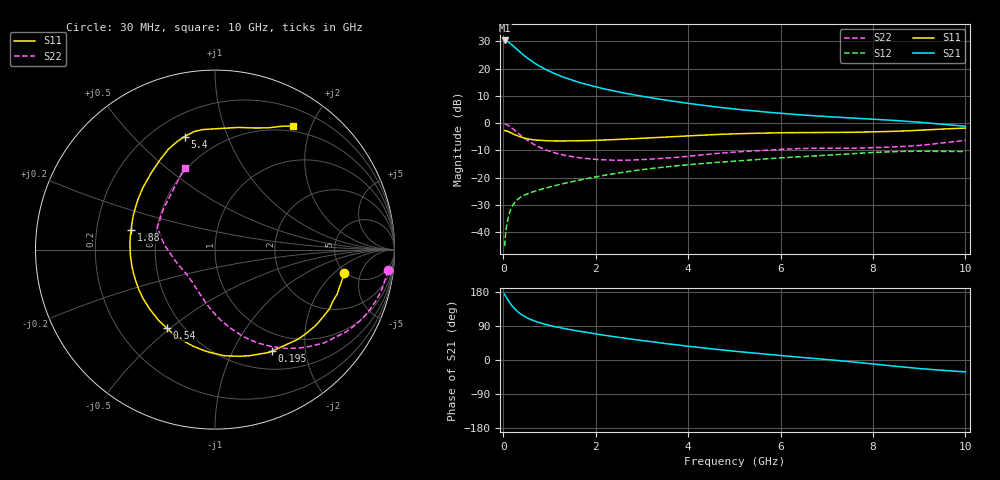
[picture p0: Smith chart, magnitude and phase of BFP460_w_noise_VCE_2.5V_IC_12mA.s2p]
! (c) 2016  Infineon Technologies AG, Munich
! Infineon Technologies  Discrete & RF Semiconductors
! BFP460
! VCE =  2.5 V,  IC =  12 mA
! Common Emitter S-Parameters:  Jan 2016
# GHz  S  MA  R  50
!  f  S11  S21  S12  S22
! GHz  MAG  ANG  MAG  ANG  MAG  ANG  MAG  ANG
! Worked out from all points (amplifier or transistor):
!   229 points, 30 MHz to 10 GHz, reference 50 ohm
!   highest |S21| = 30.3 dB at 30 MHz (marker M1)
!   |S21| within 3 dB of that: start of sweep to 281.9 MHz
!   unconditionally stable (mu >= 1): 2.267 GHz to 7.873 GHz
!   at 280 MHz: K = 0.30, MSG = 27.9 dB, |S12| = -28.5 dB
!   at 1.78 GHz: K = 0.95, MSG = 17.3 dB, |S12| = -20.4 dB
!   at 10 GHz: K = 0.97, MSG = 4.6 dB, |S12| = -10.4 dB
!   lowest NFmin = 1.03 dB at 450 MHz
!   S11 on the Smith chart (normalised r, x): 30 MHz: 4.85, -2.77; 195 MHz: 0.73, -1.43; 540 MHz: 0.41, -0.49; 1.88 GHz: 0.36, +0.10; 5.4 GHz: 0.33, +0.71; 10 GHz: 0.43, +1.73
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0.03  0.7327 -10.4  32.68 173.6  0.0056 85.7  0.9692 -6.8
0.07  0.7163 -23.9  31.94 164.4  0.0125 79.1  0.9478 -15.7
0.12  0.6963 -39.7  30.15 154.9  0.0205 71.7  0.8997 -26.1
0.15  0.6755 -48.7  28.87 149.5  0.0248 68.0  0.8641 -31.9
0.195  0.6484 -60.9  26.9 142.4  0.0301 63.1  0.8055 -39.6
0.26  0.6114 -76.5  24.06 133.5  0.0363 57.8  0.7242 -49.2
0.3  0.5937 -85.0  22.42 128.7  0.0394 55.2  0.677 -54.4
0.36  0.5662 -96.1  20.18 122.9  0.0432 52.3  0.6135 -60.9
0.45  0.5362 -110.3  17.36 115.5  0.0479 49.4  0.5347 -69.3
0.54  0.5133 -121.4  15.19 110.1  0.0516 47.9  0.4737 -75.5
0.7  0.4921 -137.7  12.22 101.8  0.0575 46.6  0.3933 -85.5
0.9  0.4792 -152.4  9.804 94.4  0.0643 46.5  0.3296 -94.7
1.26  0.4716 -171.0  7.192 84.5  0.0769 47.2  0.2668 -107.4
1.7  0.4764 172.6  5.409 74.8  0.0929 47.4  0.2303 -119.8
1.88  0.4802 167.0  4.914 71.2  0.0997 47.1  0.2218 -124.4
2.6  0.5102 148.0  3.58 58.0  0.1266 44.4  0.2095 -142.9
3.4  0.5486 131.8  2.737 45.3  0.1546 39.6  0.2256 -161.2
5.1  0.6421 108.0  1.781 22.1  0.2046 29.1  0.2994 169.6
5.4  0.652 105.0  1.682 18.7  0.2139 27.3  0.309 166.7
6.8  0.6715 92.8  1.353 3.4  0.2533 18.2  0.3461 157.5
8.4  0.7067 73.6  1.131 -15.4  0.3001 4.8  0.3661 141.4
10  0.8131 57.8  0.877 -31.3  0.3022 -7.5  0.4849 110.4
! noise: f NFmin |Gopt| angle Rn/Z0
0.45  1.03  0.09  22  0.14
1.9  1.19  0.09  -179  0.12
3.5  1.2  0.36  -133  0.12
